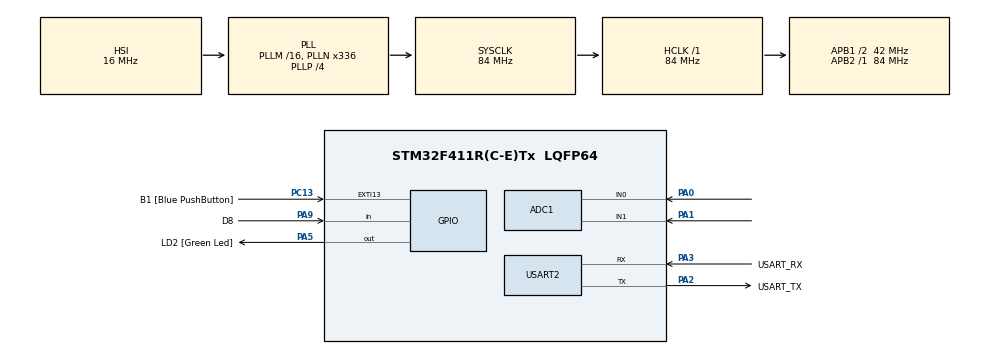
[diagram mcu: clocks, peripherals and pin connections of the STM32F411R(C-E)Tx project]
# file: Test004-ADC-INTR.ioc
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ADC1.Channel-0\#ChannelRegularConversion=ADC_CHANNEL_0
ADC1.Channel-1\#ChannelRegularConversion=ADC_CHANNEL_1
ADC1.ContinuousConvMode=DISABLE
ADC1.DiscontinuousConvMode=ENABLE
ADC1.NbrOfConversion=2
ADC1.NbrOfConversionFlag=1
ADC1.Rank-0\#ChannelRegularConversion=1
ADC1.Rank-1\#ChannelRegularConversion=2
ADC1.SamplingTime-0\#ChannelRegularConversion=ADC_SAMPLETIME_3CYCLES
ADC1.SamplingTime-1\#ChannelRegularConversion=ADC_SAMPLETIME_3CYCLES
ADC1.ScanConvMode=ENABLE
ADC1.master=1
Mcu.Family=STM32F4
Mcu.Name=STM32F411R(C-E)Tx
Mcu.Package=LQFP64
NVIC.ADC_IRQn=true\:0\:0\:false\:false\:true\:true\:true\:true
NVIC.PriorityGroup=NVIC_PRIORITYGROUP_0
NVIC.TIM3_IRQn=true\:0\:0\:false\:false\:true\:true\:true\:true
PA0-WKUP.Signal=ADCx_IN0
PA1.Signal=ADCx_IN1
PA13.GPIO_Label=TMS
PA13.Mode=Serial_Wire
PA13.Signal=SYS_JTMS-SWDIO
PA14.GPIO_Label=TCK
PA14.Mode=Serial_Wire
PA14.Signal=SYS_JTCK-SWCLK
PA2.GPIO_Label=USART_TX
PA2.Mode=Asynchronous
PA2.Signal=USART2_TX
PA3.GPIO_Label=USART_RX
PA3.Mode=Asynchronous
PA3.Signal=USART2_RX
PA5.GPIO_Label=LD2 [Green Led]
PA5.Signal=GPIO_Output
PA9.GPIO_Label=D8
PA9.Signal=GPIO_Input
PB3.GPIO_Label=SWO
PB3.Signal=SYS_JTDO-SWO
PC13-ANTI_TAMP.GPIO_Label=B1 [Blue PushButton]
PC13-ANTI_TAMP.GPIO_ModeDefaultEXTI=GPIO_MODE_IT_FALLING
PC13-ANTI_TAMP.Signal=GPXTI13
PC14-OSC32_IN.Mode=LSE-External-Oscillator
PC14-OSC32_IN.Signal=RCC_OSC32_IN
PC15-OSC32_OUT.Mode=LSE-External-Oscillator
PC15-OSC32_OUT.Signal=RCC_OSC32_OUT
PH0\ -\ OSC_IN.Mode=HSE-External-Clock-Source
PH0\ -\ OSC_IN.Signal=RCC_OSC_IN
PH1\ -\ OSC_OUT.Mode=HSE-External-Clock-Source
PH1\ -\ OSC_OUT.Signal=RCC_OSC_OUT
ProjectManager.HeapSize=0x200
ProjectManager.StackSize=0x400
ProjectManager.TargetToolchain=STM32CubeIDE
RCC.48MHZClocksFreq_Value=84000000
RCC.AHBFreq_Value=84000000
RCC.APB1CLKDivider=RCC_HCLK_DIV2
RCC.APB1Freq_Value=42000000
RCC.APB1TimFreq_Value=84000000
RCC.APB2Freq_Value=84000000
RCC.APB2TimFreq_Value=84000000
RCC.CortexFreq_Value=84000000
RCC.FLatency-AdvancedSettings=FLASH_LATENCY_2
RCC.HCLKFreq_Value=84000000
RCC.HSE_VALUE=8000000
RCC.HSI_VALUE=16000000
RCC.PLLN=336
RCC.PLLP=RCC_PLLP_DIV4
RCC.SYSCLKFreq_VALUE=84000000
RCC.SYSCLKSource=RCC_SYSCLKSOURCE_PLLCLK
RCC.VCOOutputFreq_Value=336000000
SH.ADCx_IN0.0=ADC1_IN0,IN0
SH.ADCx_IN1.0=ADC1_IN1,IN1
TIM3.Period=8400-1
TIM3.Prescaler=1000-1
USART2.VirtualMode=VM_ASYNC
VP_TIM3_VS_ClockSourceINT.Mode=Internal
board=NUCLEO-F411RE

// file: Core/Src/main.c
/* USER CODE BEGIN Header */
/**
  ******************************************************************************
  * @file           : main.c
  * @brief          : Main program body
  ******************************************************************************
  * @attention
  *
  * Copyright (c) 2024 STMicroelectronics.
  * All rights reserved.
  *
  * This software is licensed under terms that can be found in the LICENSE file
  * in the root directory of this software component.
  * If no LICENSE file comes with this software, it is provided AS-IS.
  *
  ******************************************************************************
  */
/* USER CODE END Header */
#include "main.h"

ADC_HandleTypeDef hadc1;

TIM_HandleTypeDef htim3;

UART_HandleTypeDef huart2;

void SystemClock_Config(void);
static void MX_GPIO_Init(void);
static void MX_USART2_UART_Init(void);
static void MX_ADC1_Init(void);
static void MX_TIM3_Init(void);

/* USER CODE BEGIN 0 */
int val1, val2, ch = 0;
void HAL_ADC_ConvCpltCallback (ADC_HandleTypeDef *hadc) // sampling complete
{
	if(ch == 0)
	{
		val1 = HAL_ADC_GetValue(&hadc1);
		ch++;
	}
	else
	{
		val2 = HAL_ADC_GetValue(&hadc1);
		ch = 0;
	}
	  printf("Current ADC Value : (%d, %d)\r\n", val1, val2);

	HAL_ADC_Start_IT(&hadc1);

}
void HAL_TIM_PeriodElapsedCallback(TIM_HandleTypeDef *htim)
{
		HAL_ADC_Start_IT(&hadc1);

}

/* USER CODE END 0 */

int main(void)
{

  /* MCU Configuration--------------------------------------------------------*/

  /* Reset of all peripherals, Initializes the Flash interface and the Systick. */
  HAL_Init();

  /* Configure the system clock */
  SystemClock_Config();

  /* Initialize all configured peripherals */
  MX_GPIO_Init();
  MX_USART2_UART_Init();
  MX_ADC1_Init();
  MX_TIM3_Init();
  /* USER CODE BEGIN 2 */

  ProgramStart("ADC Interrupt");
  HAL_TIM_Base_Start_IT(&htim3);
  HAL_ADC_Start_IT(&hadc1);
  //HAL_ADC_Start_IT(&hadcl);
  /* USER CODE END 2 */

  /* Infinite loop */
  while (1)
  {

    /* USER CODE BEGIN 3 */
	  printf("Current ADC Value : (%d, %d)\r\n", val1, val2);
  }
  /* USER CODE END 3 */
}

void SystemClock_Config(void)
{
  RCC_OscInitTypeDef RCC_OscInitStruct = {0};
  RCC_ClkInitTypeDef RCC_ClkInitStruct = {0};

  /** Configure the main internal regulator output voltage
  */
  __HAL_RCC_PWR_CLK_ENABLE();
  __HAL_PWR_VOLTAGESCALING_CONFIG(PWR_REGULATOR_VOLTAGE_SCALE1);

  /** Initializes the RCC Oscillators according to the specified parameters
  * in the RCC_OscInitTypeDef structure.
  */
  RCC_OscInitStruct.OscillatorType = RCC_OSCILLATORTYPE_HSI;
  RCC_OscInitStruct.HSIState = RCC_HSI_ON;
  RCC_OscInitStruct.HSICalibrationValue = RCC_HSICALIBRATION_DEFAULT;
  RCC_OscInitStruct.PLL.PLLState = RCC_PLL_ON;
  RCC_OscInitStruct.PLL.PLLSource = RCC_PLLSOURCE_HSI;
  RCC_OscInitStruct.PLL.PLLM = 16;
  RCC_OscInitStruct.PLL.PLLN = 336;
  RCC_OscInitStruct.PLL.PLLP = RCC_PLLP_DIV4;
  RCC_OscInitStruct.PLL.PLLQ = 4;
  if (HAL_RCC_OscConfig(&RCC_OscInitStruct) != HAL_OK)
  {
    Error_Handler();
  }

  /** Initializes the CPU, AHB and APB buses clocks
  */
  RCC_ClkInitStruct.ClockType = RCC_CLOCKTYPE_HCLK|RCC_CLOCKTYPE_SYSCLK
                              |RCC_CLOCKTYPE_PCLK1|RCC_CLOCKTYPE_PCLK2;
  RCC_ClkInitStruct.SYSCLKSource = RCC_SYSCLKSOURCE_PLLCLK;
  RCC_ClkInitStruct.AHBCLKDivider = RCC_SYSCLK_DIV1;
  RCC_ClkInitStruct.APB1CLKDivider = RCC_HCLK_DIV2;
  RCC_ClkInitStruct.APB2CLKDivider = RCC_HCLK_DIV1;

  if (HAL_RCC_ClockConfig(&RCC_ClkInitStruct, FLASH_LATENCY_2) != HAL_OK)
  {
    Error_Handler();
  }
}

static void MX_ADC1_Init(void)
{

  ADC_ChannelConfTypeDef sConfig = {0};

  /** Configure the global features of the ADC (Clock, Resolution, Data Alignment and number of conversion)
  */
  hadc1.Instance = ADC1;
  hadc1.Init.ClockPrescaler = ADC_CLOCK_SYNC_PCLK_DIV4;
  hadc1.Init.Resolution = ADC_RESOLUTION_12B;
  hadc1.Init.ScanConvMode = ENABLE;
  hadc1.Init.ContinuousConvMode = DISABLE;
  hadc1.Init.DiscontinuousConvMode = ENABLE;
  hadc1.Init.NbrOfDiscConversion = 1;
  hadc1.Init.ExternalTrigConvEdge = ADC_EXTERNALTRIGCONVEDGE_NONE;
  hadc1.Init.ExternalTrigConv = ADC_SOFTWARE_START;
  hadc1.Init.DataAlign = ADC_DATAALIGN_RIGHT;
  hadc1.Init.NbrOfConversion = 2;
  hadc1.Init.DMAContinuousRequests = DISABLE;
  hadc1.Init.EOCSelection = ADC_EOC_SINGLE_CONV;
  if (HAL_ADC_Init(&hadc1) != HAL_OK)
  {
    Error_Handler();
  }

  /** Configure for the selected ADC regular channel its corresponding rank in the sequencer and its sample time.
  */
  sConfig.Channel = ADC_CHANNEL_0;
  sConfig.Rank = 1;
  sConfig.SamplingTime = ADC_SAMPLETIME_3CYCLES;
  if (HAL_ADC_ConfigChannel(&hadc1, &sConfig) != HAL_OK)
  {
    Error_Handler();
  }

  /** Configure for the selected ADC regular channel its corresponding rank in the sequencer and its sample time.
  */
  sConfig.Channel = ADC_CHANNEL_1;
  sConfig.Rank = 2;
  if (HAL_ADC_ConfigChannel(&hadc1, &sConfig) != HAL_OK)
  {
    Error_Handler();
  }

}

static void MX_TIM3_Init(void)
{

  TIM_ClockConfigTypeDef sClockSourceConfig = {0};
  TIM_MasterConfigTypeDef sMasterConfig = {0};

  htim3.Instance = TIM3;
  htim3.Init.Prescaler = 1000-1;
  htim3.Init.CounterMode = TIM_COUNTERMODE_UP;
  htim3.Init.Period = 8400-1;
  htim3.Init.ClockDivision = TIM_CLOCKDIVISION_DIV1;
  htim3.Init.AutoReloadPreload = TIM_AUTORELOAD_PRELOAD_DISABLE;
  if (HAL_TIM_Base_Init(&htim3) != HAL_OK)
  {
    Error_Handler();
  }
  sClockSourceConfig.ClockSource = TIM_CLOCKSOURCE_INTERNAL;
  if (HAL_TIM_ConfigClockSource(&htim3, &sClockSourceConfig) != HAL_OK)
  {
    Error_Handler();
  }
  sMasterConfig.MasterOutputTrigger = TIM_TRGO_RESET;
  sMasterConfig.MasterSlaveMode = TIM_MASTERSLAVEMODE_DISABLE;
  if (HAL_TIMEx_MasterConfigSynchronization(&htim3, &sMasterConfig) != HAL_OK)
  {
    Error_Handler();
  }

}

static void MX_USART2_UART_Init(void)
{

  huart2.Instance = USART2;
  huart2.Init.BaudRate = 115200;
  huart2.Init.WordLength = UART_WORDLENGTH_8B;
  huart2.Init.StopBits = UART_STOPBITS_1;
  huart2.Init.Parity = UART_PARITY_NONE;
  huart2.Init.Mode = UART_MODE_TX_RX;
  huart2.Init.HwFlowCtl = UART_HWCONTROL_NONE;
  huart2.Init.OverSampling = UART_OVERSAMPLING_16;
  if (HAL_UART_Init(&huart2) != HAL_OK)
  {
    Error_Handler();
  }

}

static void MX_GPIO_Init(void)
{
  GPIO_InitTypeDef GPIO_InitStruct = {0};

  /* GPIO Ports Clock Enable */
  __HAL_RCC_GPIOC_CLK_ENABLE();
  __HAL_RCC_GPIOH_CLK_ENABLE();
  __HAL_RCC_GPIOA_CLK_ENABLE();
  __HAL_RCC_GPIOB_CLK_ENABLE();

  /*Configure GPIO pin Output Level */
  HAL_GPIO_WritePin(LD2_GPIO_Port, LD2_Pin, GPIO_PIN_RESET);

  /*Configure GPIO pin : B1_Pin */
  GPIO_InitStruct.Pin = B1_Pin;
  GPIO_InitStruct.Mode = GPIO_MODE_IT_FALLING;
  GPIO_InitStruct.Pull = GPIO_NOPULL;
  HAL_GPIO_Init(B1_GPIO_Port, &GPIO_InitStruct);

  /*Configure GPIO pin : LD2_Pin */
  GPIO_InitStruct.Pin = LD2_Pin;
  GPIO_InitStruct.Mode = GPIO_MODE_OUTPUT_PP;
  GPIO_InitStruct.Pull = GPIO_NOPULL;
  GPIO_InitStruct.Speed = GPIO_SPEED_FREQ_LOW;
  HAL_GPIO_Init(LD2_GPIO_Port, &GPIO_InitStruct);

  /*Configure GPIO pin : D8_Pin */
  GPIO_InitStruct.Pin = D8_Pin;
  GPIO_InitStruct.Mode = GPIO_MODE_INPUT;
  GPIO_InitStruct.Pull = GPIO_NOPULL;
  HAL_GPIO_Init(D8_GPIO_Port, &GPIO_InitStruct);

}

void Error_Handler(void)
{
  __disable_irq();
  while (1)
  {
  }
}
